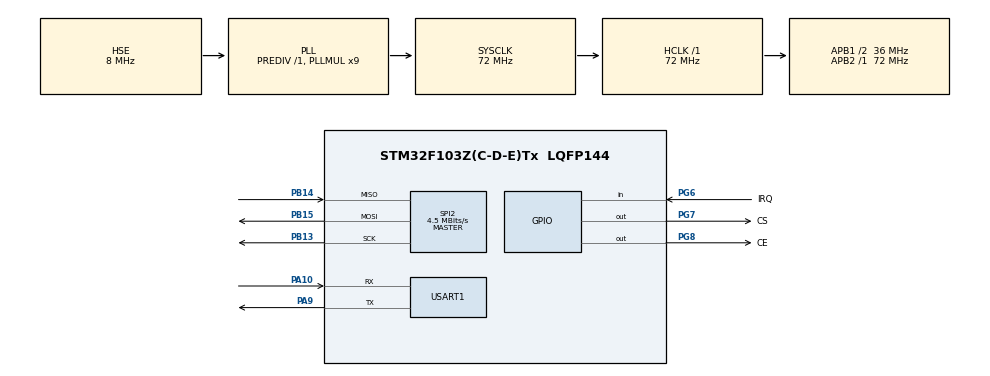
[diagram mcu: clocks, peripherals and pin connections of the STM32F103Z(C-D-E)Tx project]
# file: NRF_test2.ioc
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Mcu.Family=STM32F1
Mcu.Name=STM32F103Z(C-D-E)Tx
Mcu.Package=LQFP144
NVIC.PriorityGroup=NVIC_PRIORITYGROUP_4
OSC_IN.Mode=HSE-External-Oscillator
OSC_IN.Signal=RCC_OSC_IN
OSC_OUT.Mode=HSE-External-Oscillator
OSC_OUT.Signal=RCC_OSC_OUT
PA10.Mode=Asynchronous
PA10.Signal=USART1_RX
PA13.Mode=Serial_Wire
PA13.Signal=SYS_JTMS-SWDIO
PA14.Mode=Serial_Wire
PA14.Signal=SYS_JTCK-SWCLK
PA9.Mode=Asynchronous
PA9.Signal=USART1_TX
PB13.Mode=Full_Duplex_Master
PB13.Signal=SPI2_SCK
PB14.Mode=Full_Duplex_Master
PB14.Signal=SPI2_MISO
PB15.Mode=Full_Duplex_Master
PB15.Signal=SPI2_MOSI
PG6.GPIO_Label=IRQ
PG6.GPIO_PuPd=GPIO_PULLUP
PG6.Signal=GPIO_Input
PG7.GPIO_Label=CS
PG7.GPIO_Speed=GPIO_SPEED_FREQ_HIGH
PG7.PinState=GPIO_PIN_SET
PG7.Signal=GPIO_Output
PG8.GPIO_Label=CE
PG8.GPIO_Speed=GPIO_SPEED_FREQ_HIGH
PG8.PinState=GPIO_PIN_SET
PG8.Signal=GPIO_Output
ProjectManager.HeapSize=0x200
ProjectManager.StackSize=0x400
ProjectManager.TargetToolchain=MDK-ARM V5.32
RCC.AHBFreq_Value=72000000
RCC.APB1CLKDivider=RCC_HCLK_DIV2
RCC.APB1Freq_Value=36000000
RCC.APB1TimFreq_Value=72000000
RCC.APB2Freq_Value=72000000
RCC.APB2TimFreq_Value=72000000
RCC.HCLKFreq_Value=72000000
RCC.PLLMUL=RCC_PLL_MUL9
RCC.PLLSourceVirtual=RCC_PLLSOURCE_HSE
RCC.SYSCLKFreq_VALUE=72000000
RCC.SYSCLKSource=RCC_SYSCLKSOURCE_PLLCLK
RCC.USBFreq_Value=72000000
SPI2.BaudRatePrescaler=SPI_BAUDRATEPRESCALER_8
SPI2.CalculateBaudRate=4.5 MBits/s
SPI2.Direction=SPI_DIRECTION_2LINES
SPI2.Mode=SPI_MODE_MASTER
SPI2.VirtualType=VM_MASTER
USART1.VirtualMode=VM_ASYNC
board=custom

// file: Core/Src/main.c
/* USER CODE BEGIN Header */
/**
  ******************************************************************************
  * @file           : main.c
  * @brief          : Main program body
  ******************************************************************************
  * @attention
  *
  * Copyright (c) 2023 STMicroelectronics.
  * All rights reserved.
  *
  * This software is licensed under terms that can be found in the LICENSE file
  * in the root directory of this software component.
  * If no LICENSE file comes with this software, it is provided AS-IS.
  *
  ******************************************************************************
  */
/* USER CODE END Header */
#include "main.h"
#include "spi.h"
#include "usart.h"
#include "gpio.h"

void SystemClock_Config(void);

/* USER CODE BEGIN 0 */
#include "NRF24L01.h"
#include "stdio.h"

unsigned char tmp_buf[32] = {0};
unsigned char temp;
/* USER CODE END 0 */

int main(void)
{

  /* MCU Configuration--------------------------------------------------------*/

  /* Reset of all peripherals, Initializes the Flash interface and the Systick. */
  HAL_Init();

  /* Configure the system clock */
  SystemClock_Config();

  /* Initialize all configured peripherals */
  MX_GPIO_Init();
  MX_SPI2_Init();
  MX_USART1_UART_Init();
  /* USER CODE BEGIN 2 */
	NRF24L01_Init();

	temp = 4;
	while(NRF24L01_Check()&&(temp--));

	RX_Mode();
  /* USER CODE END 2 */

  /* Infinite loop */
  while (1)
  {
		if(NRF24L01_RxPacket(tmp_buf) == 0)
		{
			unsigned char i;
			for(i=0;i<32;i++)
				printf(" %x",tmp_buf[i]);

			printf("\r\n");
		}
  }
}

void SystemClock_Config(void)
{
  RCC_OscInitTypeDef RCC_OscInitStruct = {0};
  RCC_ClkInitTypeDef RCC_ClkInitStruct = {0};

  /** Initializes the RCC Oscillators according to the specified parameters
  * in the RCC_OscInitTypeDef structure.
  */
  RCC_OscInitStruct.OscillatorType = RCC_OSCILLATORTYPE_HSE;
  RCC_OscInitStruct.HSEState = RCC_HSE_ON;
  RCC_OscInitStruct.HSEPredivValue = RCC_HSE_PREDIV_DIV1;
  RCC_OscInitStruct.HSIState = RCC_HSI_ON;
  RCC_OscInitStruct.PLL.PLLState = RCC_PLL_ON;
  RCC_OscInitStruct.PLL.PLLSource = RCC_PLLSOURCE_HSE;
  RCC_OscInitStruct.PLL.PLLMUL = RCC_PLL_MUL9;
  if (HAL_RCC_OscConfig(&RCC_OscInitStruct) != HAL_OK)
  {
    Error_Handler();
  }

  /** Initializes the CPU, AHB and APB buses clocks
  */
  RCC_ClkInitStruct.ClockType = RCC_CLOCKTYPE_HCLK|RCC_CLOCKTYPE_SYSCLK
                              |RCC_CLOCKTYPE_PCLK1|RCC_CLOCKTYPE_PCLK2;
  RCC_ClkInitStruct.SYSCLKSource = RCC_SYSCLKSOURCE_PLLCLK;
  RCC_ClkInitStruct.AHBCLKDivider = RCC_SYSCLK_DIV1;
  RCC_ClkInitStruct.APB1CLKDivider = RCC_HCLK_DIV2;
  RCC_ClkInitStruct.APB2CLKDivider = RCC_HCLK_DIV1;

  if (HAL_RCC_ClockConfig(&RCC_ClkInitStruct, FLASH_LATENCY_2) != HAL_OK)
  {
    Error_Handler();
  }
}

/* USER CODE BEGIN 4 */
int fputc(int ch, FILE *f)
{
  HAL_UART_Transmit(&huart1, (uint8_t *)&ch, 1, 0xffff);
  return ch;
}

int fgetc(FILE *f)
{
  uint8_t ch = 0;
  HAL_UART_Receive(&huart1, &ch, 1, 0xffff);
  return ch;
}
/* USER CODE END 4 */

void Error_Handler(void)
{
  __disable_irq();
  while (1)
  {
  }
}
